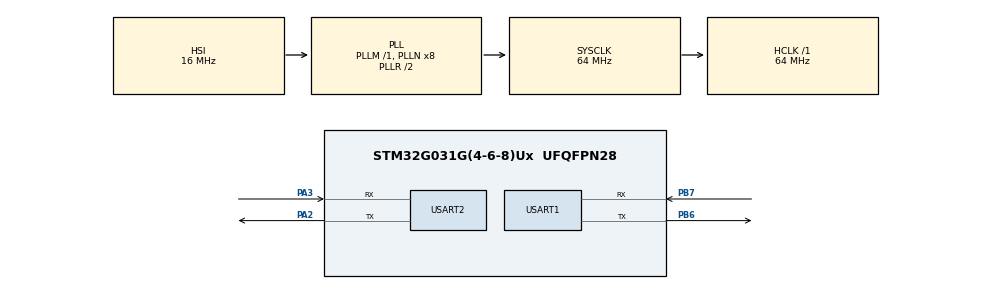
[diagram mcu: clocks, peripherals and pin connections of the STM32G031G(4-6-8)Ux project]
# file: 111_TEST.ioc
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Dma.Request0=USART1_RX
Dma.Request1=USART2_RX
Dma.USART1_RX.0.Direction=DMA_PERIPH_TO_MEMORY
Dma.USART1_RX.0.EventEnable=DISABLE
Dma.USART1_RX.0.Instance=DMA1_Channel1
Dma.USART1_RX.0.MemDataAlignment=DMA_MDATAALIGN_BYTE
Dma.USART1_RX.0.MemInc=DMA_MINC_ENABLE
Dma.USART1_RX.0.Mode=DMA_NORMAL
Dma.USART1_RX.0.PeriphDataAlignment=DMA_PDATAALIGN_BYTE
Dma.USART1_RX.0.PeriphInc=DMA_PINC_DISABLE
Dma.USART1_RX.0.Polarity=HAL_DMAMUX_REQ_GEN_RISING
Dma.USART1_RX.0.Priority=DMA_PRIORITY_LOW
Dma.USART1_RX.0.RequestNumber=1
Dma.USART1_RX.0.SignalID=NONE
Dma.USART1_RX.0.SyncEnable=DISABLE
Dma.USART1_RX.0.SyncPolarity=HAL_DMAMUX_SYNC_NO_EVENT
Dma.USART1_RX.0.SyncRequestNumber=1
Dma.USART1_RX.0.SyncSignalID=NONE
Dma.USART2_RX.1.Direction=DMA_PERIPH_TO_MEMORY
Dma.USART2_RX.1.EventEnable=DISABLE
Dma.USART2_RX.1.Instance=DMA1_Channel2
Dma.USART2_RX.1.MemDataAlignment=DMA_MDATAALIGN_BYTE
Dma.USART2_RX.1.MemInc=DMA_MINC_ENABLE
Dma.USART2_RX.1.Mode=DMA_NORMAL
Dma.USART2_RX.1.PeriphDataAlignment=DMA_PDATAALIGN_BYTE
Dma.USART2_RX.1.PeriphInc=DMA_PINC_DISABLE
Dma.USART2_RX.1.Polarity=HAL_DMAMUX_REQ_GEN_RISING
Dma.USART2_RX.1.Priority=DMA_PRIORITY_LOW
Dma.USART2_RX.1.RequestNumber=1
Dma.USART2_RX.1.SignalID=NONE
Dma.USART2_RX.1.SyncEnable=DISABLE
Dma.USART2_RX.1.SyncPolarity=HAL_DMAMUX_SYNC_NO_EVENT
Dma.USART2_RX.1.SyncRequestNumber=1
Dma.USART2_RX.1.SyncSignalID=NONE
Mcu.Family=STM32G0
Mcu.Name=STM32G031G(4-6-8)Ux
Mcu.Package=UFQFPN28
NVIC.DMA1_Channel1_IRQn=true\:0\:0\:false\:false\:true\:false\:true\:true
NVIC.DMA1_Channel2_3_IRQn=true\:0\:0\:false\:false\:true\:false\:true\:true
NVIC.USART1_IRQn=true\:0\:0\:false\:false\:true\:true\:true\:true
NVIC.USART2_IRQn=true\:0\:0\:false\:false\:true\:true\:true\:true
PA13.Mode=Serial_Wire
PA13.Signal=SYS_SWDIO
PA14-BOOT0.Mode=Serial_Wire
PA14-BOOT0.Signal=SYS_SWCLK
PA2.Mode=Asynchronous
PA2.Signal=USART2_TX
PA3.Mode=Asynchronous
PA3.Signal=USART2_RX
PB6.Mode=Asynchronous
PB6.Signal=USART1_TX
PB7.Mode=Asynchronous
PB7.Signal=USART1_RX
ProjectManager.HeapSize=0x200
ProjectManager.StackSize=0x400
ProjectManager.TargetToolchain=MDK-ARM V5.32
RCC.ADCFreq_Value=64000000
RCC.AHBFreq_Value=64000000
RCC.CortexFreq_Value=64000000
RCC.EXTERNAL_CLOCK_VALUE=12288000
RCC.HCLKFreq_Value=64000000
RCC.HSE_VALUE=8000000
RCC.HSI_VALUE=16000000
RCC.LSE_VALUE=32768
RCC.SYSCLKFreq_VALUE=64000000
RCC.SYSCLKSource=RCC_SYSCLKSOURCE_PLLCLK
RCC.VCOOutputFreq_Value=128000000
USART1.SwapParam=ADVFEATURE_SWAP_ENABLE
USART1.VirtualMode-Asynchronous=VM_ASYNC
USART2.VirtualMode-Asynchronous=VM_ASYNC
board=custom

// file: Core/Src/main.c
/* USER CODE BEGIN Header */
/**
  ******************************************************************************
  * @file           : main.c
  * @brief          : Main program body
  ******************************************************************************
  * @attention
  *
  * Copyright (c) 2026 STMicroelectronics.
  * All rights reserved.
  *
  * This software is licensed under terms that can be found in the LICENSE file
  * in the root directory of this software component.
  * If no LICENSE file comes with this software, it is provided AS-IS.
  *
  ******************************************************************************
  */
/* USER CODE END Header */
#include "main.h"
#include "dma.h"
#include "usart.h"
#include "gpio.h"

/* USER CODE BEGIN Includes */
#include "stdio.h"
#include "string.h"

/* USER CODE END Includes */

/* USER CODE BEGIN PTD */

/* 固化参数 */
#define RX_BUF_SIZE 15

uint8_t g_rx_buffer[RX_BUF_SIZE]; // DMA 接收缓冲区
uint8_t g_main_buffer[RX_BUF_SIZE]; // 主循环处理缓冲区（可选，用于数据固化）
volatile uint8_t g_rx_len = 0;             // 实际接收长度
volatile uint8_t g_rx_completed = 0;       // 接收完成标志

/* USER CODE END PTD */

void SystemClock_Config(void);

int main(void)
{

  /* MCU Configuration--------------------------------------------------------*/

  /* Reset of all peripherals, Initializes the Flash interface and the Systick. */
  HAL_Init();

  /* Configure the system clock */
  SystemClock_Config();

  /* Initialize all configured peripherals */
  MX_GPIO_Init();
  MX_DMA_Init();
  MX_USART1_UART_Init();
  MX_USART2_UART_Init();
  /* USER CODE BEGIN 2 */

	/* 1. 开启 DMA 接收，长度设为最大值 */
	HAL_UART_Receive_DMA(&huart2, g_rx_buffer, RX_BUF_SIZE);

	/* 2. 开启串口空闲中断 */
	__HAL_UART_ENABLE_IT(&huart2, UART_IT_IDLE);

  /* USER CODE END 2 */

  /* Infinite loop */
  while (1)
  {

    /* USER CODE BEGIN 3 */
			if (g_rx_completed == 1)
			{
					// 调试用：如果发送返回不是 OK，说明串口状态机被锁死
					HAL_StatusTypeDef status = HAL_UART_Transmit(&huart1, g_rx_buffer, g_rx_len, 100);

					if (status != HAL_OK)
					{
							// 强制复位串口状态机（紧急处理）
							huart1.gState = HAL_UART_STATE_READY;
							HAL_UART_Transmit(&huart1, g_rx_buffer, g_rx_len, 100);
					}

					// 复位逻辑
					g_rx_completed = 0;

					// 重新开启 DMA 接收前，确保清除所有标志位
					memset(g_rx_buffer, 0, RX_BUF_SIZE);
					HAL_UART_Receive_DMA(&huart2, g_rx_buffer, RX_BUF_SIZE);
			}
		/* USER CODE END 3 */
		}
}

void SystemClock_Config(void)
{
  RCC_OscInitTypeDef RCC_OscInitStruct = {0};
  RCC_ClkInitTypeDef RCC_ClkInitStruct = {0};

  /** Configure the main internal regulator output voltage
  */
  HAL_PWREx_ControlVoltageScaling(PWR_REGULATOR_VOLTAGE_SCALE1);

  /** Initializes the RCC Oscillators according to the specified parameters
  * in the RCC_OscInitTypeDef structure.
  */
  RCC_OscInitStruct.OscillatorType = RCC_OSCILLATORTYPE_HSI;
  RCC_OscInitStruct.HSIState = RCC_HSI_ON;
  RCC_OscInitStruct.HSIDiv = RCC_HSI_DIV1;
  RCC_OscInitStruct.HSICalibrationValue = RCC_HSICALIBRATION_DEFAULT;
  RCC_OscInitStruct.PLL.PLLState = RCC_PLL_ON;
  RCC_OscInitStruct.PLL.PLLSource = RCC_PLLSOURCE_HSI;
  RCC_OscInitStruct.PLL.PLLM = RCC_PLLM_DIV1;
  RCC_OscInitStruct.PLL.PLLN = 8;
  RCC_OscInitStruct.PLL.PLLP = RCC_PLLP_DIV2;
  RCC_OscInitStruct.PLL.PLLQ = RCC_PLLQ_DIV2;
  RCC_OscInitStruct.PLL.PLLR = RCC_PLLR_DIV2;
  if (HAL_RCC_OscConfig(&RCC_OscInitStruct) != HAL_OK)
  {
    Error_Handler();
  }

  /** Initializes the CPU, AHB and APB buses clocks
  */
  RCC_ClkInitStruct.ClockType = RCC_CLOCKTYPE_HCLK|RCC_CLOCKTYPE_SYSCLK
                              |RCC_CLOCKTYPE_PCLK1;
  RCC_ClkInitStruct.SYSCLKSource = RCC_SYSCLKSOURCE_PLLCLK;
  RCC_ClkInitStruct.AHBCLKDivider = RCC_SYSCLK_DIV1;
  RCC_ClkInitStruct.APB1CLKDivider = RCC_HCLK_DIV1;

  if (HAL_RCC_ClockConfig(&RCC_ClkInitStruct, FLASH_LATENCY_2) != HAL_OK)
  {
    Error_Handler();
  }
}

/* USER CODE BEGIN 4 */
int fputc(int ch, FILE *f)
{
  HAL_UART_Transmit(&huart1,(uint8_t*)&ch,1,50);
  return ch;
}

/* USER CODE END 4 */

void Error_Handler(void)
{
  __disable_irq();
  while (1)
  {
  }
}
